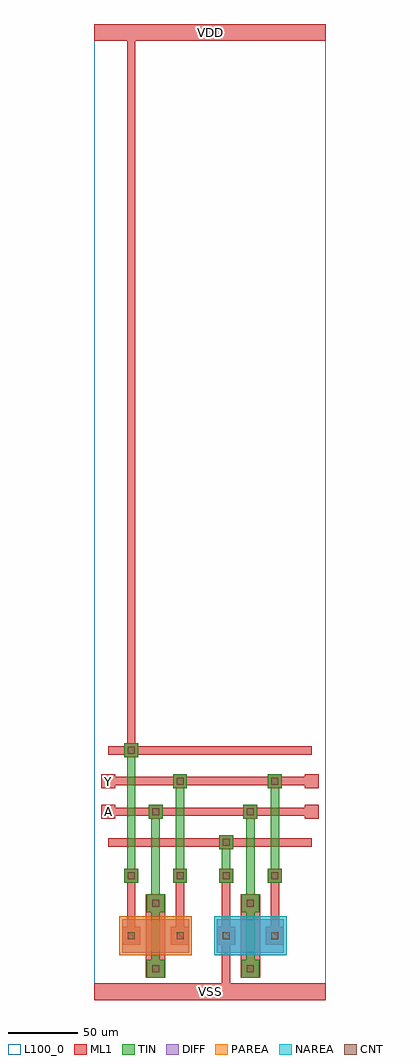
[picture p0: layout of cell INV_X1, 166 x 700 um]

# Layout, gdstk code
import gdstk
lib = gdstk.Library(unit=1e-6, precision=1e-09)
def R(c, l, rs):  # rectangles x0, y0, x1, y1
    for r in rs: c.add(gdstk.rectangle(r[:2], r[2:], *l))
def A(c, l, x, y, w, h, nx, ny, dx, dy):  # array of equal rectangles
    R(c, l, [(x+i*dx, y+j*dy, x+i*dx+w, y+j*dy+h) for i in range(nx) for j in range(ny)])
DIFF = (3, 0)
TIN = (5, 0)
CNT = (7, 0)
ML1 = (8, 0)
PAREA = (18, 0)
NAREA = (19, 0)
L100_0 = (100, 0)

inv_x1 = lib.new_cell('INV_X1')
R(inv_x1, DIFF, [(20,34,68,58), (88,34,136,58)])
R(inv_x1, TIN, [(37.5,16,50.5,29), (105.5,16,118.5,29), (41,28,47,65.5), (109,28,115,65.5), (37.5,63,50.5,76), (105.5,63,118.5,76), (41,69.5,47,135), (109,69.5,115,135), (21.5,84,31.5,94), (56.5,84,66.5,94), (89.5,84,99.5,94), (124.5,84,134.5,94), (23.5,89,29.5,179), (58.5,89,64.5,157), (91.5,89,97.5,113), (126.5,89,132.5,157), (89.5,108,99.5,118), (39,130,49,140), (107,130,117,140), (56.5,152,66.5,162), (124.5,152,134.5,162), (21.5,174,31.5,184)])
R(inv_x1, CNT, [(41.5,20,46.5,25), (109.5,20,114.5,25), (24,43.5,29,48.5), (59,43.5,64,48.5), (92,43.5,97,48.5), (127,43.5,132,48.5), (41.5,67,46.5,72), (109.5,67,114.5,72), (24,86.5,29,91.5), (59,86.5,64,91.5), (92,86.5,97,91.5), (127,86.5,132,91.5), (92,110.5,97,115.5), (41.5,132.5,46.5,137.5), (109.5,132.5,114.5,137.5), (59,154.5,64,159.5), (127,154.5,132,159.5), (24,176.5,29,181.5)])
A(inv_x1, ML1, 10, 110, 146, 6, 1, 4, 0, 22)
R(inv_x1, ML1, [(0,0,166,12), (91.5,3,97.5,92), (37,16,51,76), (37.5,16,50.5,29), (105,16,119,76), (105.5,16,118.5,29), (20,39.5,33,52.5), (55,39.5,68,52.5), (88,39.5,101,52.5), (123,39.5,136,52.5), (23.5,46,29.5,89), (58.5,46,64.5,89), (91.5,46,97.5,89), (126.5,46,132.5,89), (37.5,63,50.5,76), (105.5,63,118.5,76), (21.5,84,31.5,94), (56.5,84,66.5,94), (89.5,84,99.5,94), (124.5,84,134.5,94), (89.5,108,99.5,118), (5,130,15,140), (39,130,49,140), (107,130,117,140), (151,130,161,140), (5,152,15,162), (56.5,152,66.5,162), (124.5,152,134.5,162), (151,152,161,162), (21.5,174,31.5,184), (23.5,176,29.5,697), (0,688,166,700)])
R(inv_x1, PAREA, [(18,32,70,60)])
R(inv_x1, NAREA, [(86,32,138,60)])
R(inv_x1, L100_0, [(0,0,166,700)])
inv_x1.add(gdstk.Label('A', (10,135), layer=13, texttype=0))
inv_x1.add(gdstk.Label('Y', (10,157), layer=13, texttype=0))
inv_x1.add(gdstk.Label('VDD', (83,694), layer=13, texttype=0))
inv_x1.add(gdstk.Label('VSS', (83,6), layer=13, texttype=0))

lib.write_gds('INV_X1.gds')
